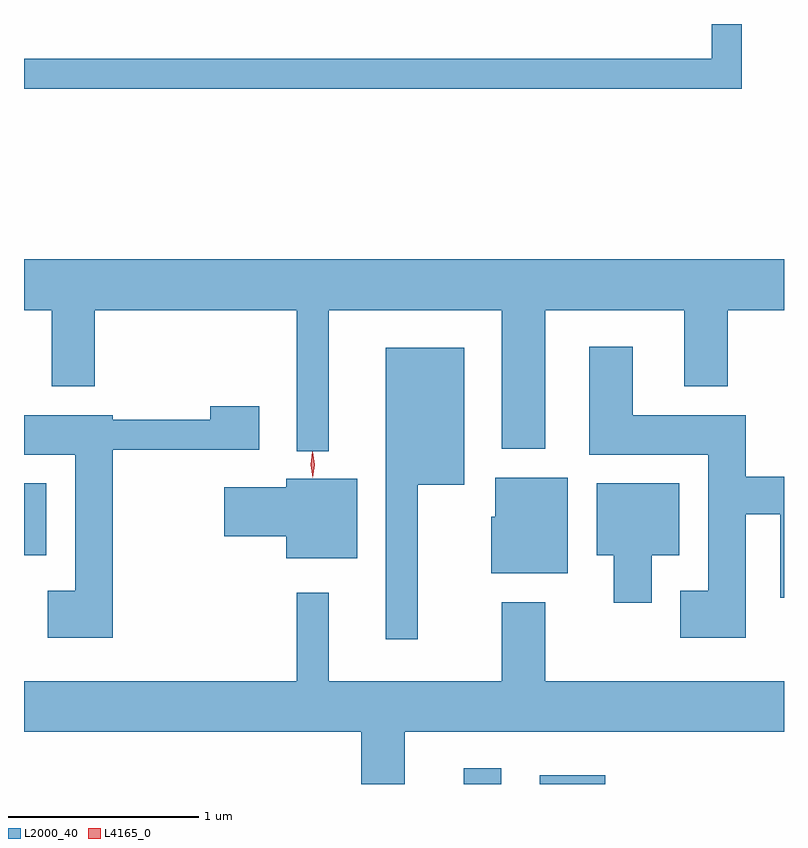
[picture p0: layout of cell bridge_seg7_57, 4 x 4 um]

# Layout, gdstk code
import gdstk
lib = gdstk.Library(unit=1e-6, precision=1e-09)
def R(c, l, rs):  # rectangles x0, y0, x1, y1
    for r in rs: c.add(gdstk.rectangle(r[:2], r[2:], *l))
def P(c, l, *ps):  # polygons
    for p in ps: c.add(gdstk.Polygon(p, *l))
L2000_40 = (2000, 40)
L4165_0 = (4165, 0)

bridge_seg7_57 = lib.new_cell('bridge_seg7_57')
R(bridge_seg7_57, L2000_40, [(1661.451,1742.902,1661.649,1742.984), (1661.851,1742.902,1662.194,1742.949), (1659.136,1744.106,1659.254,1744.484)])
P(bridge_seg7_57, L2000_40, [(1662.914,1746.902),(1662.756,1746.902),(1662.756,1746.719),(1659.136,1746.719),(1659.136,1746.561),(1662.914,1746.561)],
  [(1660.739,1745.396),(1661.651,1745.396),(1661.651,1744.666),(1661.879,1744.666),(1661.879,1745.396),(1662.611,1745.396),(1662.611,1744.996),(1662.839,1744.996),(1662.839,1745.396),(1663.136,1745.396),(1663.136,1745.664),(1659.136,1745.664),(1659.136,1745.396),(1659.281,1745.396),(1659.281,1744.996),(1659.509,1744.996),(1659.509,1745.396),(1660.571,1745.396),(1660.571,1744.653),(1660.739,1744.653)],
  [(1662.934,1744.321),(1663.116,1744.321),(1663.116,1743.881),(1663.136,1743.881),(1663.136,1744.519),(1662.934,1744.519),(1662.934,1744.844),(1662.339,1744.844),(1662.339,1745.204),(1662.111,1745.204),(1662.111,1744.636),(1662.736,1744.636),(1662.736,1743.919),(1662.591,1743.919),(1662.591,1743.671),(1662.934,1743.671)],
  [(1661.209,1744.476),(1661.454,1744.476),(1661.454,1745.199),(1661.041,1745.199),(1661.041,1743.663),(1661.209,1743.663)],
  [(1659.604,1744.661),(1660.374,1744.661),(1660.374,1744.889),(1660.116,1744.889),(1660.116,1744.819),(1659.604,1744.819),(1659.604,1744.844),(1659.136,1744.844),(1659.136,1744.636),(1659.406,1744.636),(1659.406,1743.919),(1659.261,1743.919),(1659.261,1743.671),(1659.604,1743.671)],
  [(1661.999,1744.514),(1661.616,1744.514),(1661.616,1744.309),(1661.596,1744.309),(1661.596,1744.011),(1661.999,1744.011)],
  [(1660.889,1744.509),(1660.516,1744.509),(1660.516,1744.464),(1660.191,1744.464),(1660.191,1744.206),(1660.516,1744.206),(1660.516,1744.091),(1660.889,1744.091)],
  [(1662.439,1744.106),(1662.584,1744.106),(1662.584,1744.484),(1662.151,1744.484),(1662.151,1744.106),(1662.241,1744.106),(1662.241,1743.856),(1662.439,1743.856)],
  [(1661.139,1743.176),(1663.136,1743.176),(1663.136,1743.444),(1661.879,1743.444),(1661.879,1743.859),(1661.651,1743.859),(1661.651,1743.444),(1660.739,1743.444),(1660.739,1743.908),(1660.571,1743.908),(1660.571,1743.444),(1659.136,1743.444),(1659.136,1743.176),(1660.911,1743.176),(1660.911,1742.902),(1661.139,1742.902)])
P(bridge_seg7_57, L4165_0, [(1660.656,1744.521),(1660.646,1744.584),(1660.655,1744.647),(1660.655,1744.647),(1660.656,1744.647),(1660.666,1744.584),(1660.657,1744.521),(1660.657,1744.521)],
  [(1660.656,1744.514),(1660.656,1744.514),(1660.646,1744.582),(1660.654,1744.65),(1660.655,1744.65),(1660.656,1744.65),(1660.665,1744.582),(1660.656,1744.514)])

lib.write_gds('bridge_seg7_57.gds')
